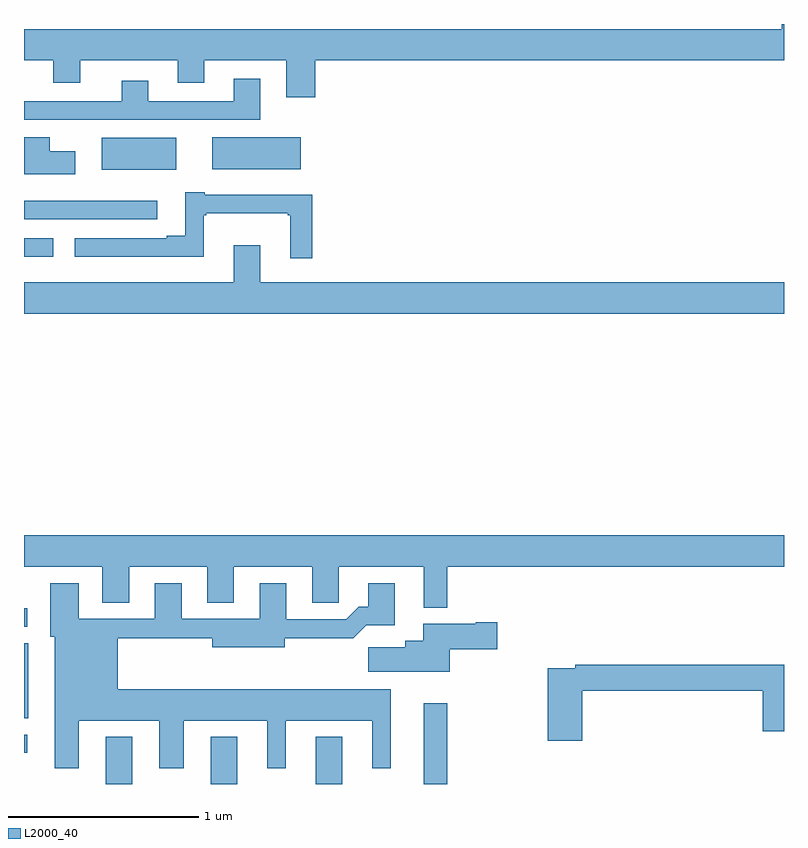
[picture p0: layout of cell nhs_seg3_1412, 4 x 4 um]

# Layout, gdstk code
import gdstk
lib = gdstk.Library(unit=1e-6, precision=1e-09)
def R(c, l, rs):  # rectangles x0, y0, x1, y1
    for r in rs: c.add(gdstk.rectangle(r[:2], r[2:], *l))
def A(c, l, x, y, w, h, nx, ny, dx, dy):  # array of equal rectangles
    R(c, l, [(x+i*dx, y+j*dy, x+i*dx+w, y+j*dy+h) for i in range(nx) for j in range(ny)])
def P(c, l, *ps):  # polygons
    for p in ps: c.add(gdstk.Polygon(p, *l))
L2000_40 = (2000, 40)

nhs_seg3_1412 = lib.new_cell('nhs_seg3_1412')
A(nhs_seg3_1412, L2000_40, 183.431, 738.4, 0.14, 0.249, 3, 1, 0.552, 0)
R(nhs_seg3_1412, L2000_40, [(185.105,738.4,185.227,738.826), (183,738.564,183.016,738.66), (183,738.745,183.022,739.142), (183,739.227,183.016,739.326), (183,741.176,183.154,741.273), (183,741.372,183.7,741.469), (183.41,741.632,183.802,741.802), (183.992,741.635,184.456,741.805)])
P(nhs_seg3_1412, L2000_40, [(184.532,742.208),(187,742.208),(187,742.4),(186.989,742.4),(186.989,742.372),(183,742.372),(183,742.208),(183.155,742.208),(183.155,742.091),(183.295,742.091),(183.295,742.208),(183.809,742.208),(183.809,742.091),(183.949,742.091),(183.949,742.208),(184.379,742.208),(184.379,742.014),(184.532,742.014)],
  [(184.243,742.111),(184.103,742.111),(184.103,741.993),(183.655,741.993),(183.655,742.102),(183.515,742.102),(183.515,741.993),(183,741.993),(183,741.897),(184.243,741.897)],
  [(183.271,741.73),(183.136,741.73),(183.136,741.805),(183,741.805),(183,741.608),(183.271,741.608)],
  [(184.517,741.502),(183.952,741.502),(183.952,741.514),(183.848,741.514),(183.848,741.286),(183.752,741.286),(183.752,741.273),(183.267,741.273),(183.267,741.176),(183.946,741.176),(183.946,741.393),(183.958,741.393),(183.958,741.404),(184.389,741.404),(184.389,741.393),(184.4,741.393),(184.4,741.168),(184.517,741.168)],
  [(187,741.04),(184.243,741.04),(184.243,741.235),(184.103,741.235),(184.103,741.04),(183,741.04),(183,740.876),(187,740.876)],
  [(185.227,739.544),(187,739.544),(187,739.708),(183,739.708),(183,739.544),(183.413,739.544),(183.413,739.354),(183.553,739.354),(183.553,739.544),(183.965,739.544),(183.965,739.354),(184.105,739.354),(184.105,739.544),(184.517,739.544),(184.517,739.354),(184.656,739.354),(184.656,739.544),(185.105,739.544),(185.105,739.328),(185.227,739.328)],
  [(183.289,738.734),(183.713,738.734),(183.713,738.483),(183.841,738.483),(183.841,738.734),(184.28,738.734),(184.28,738.483),(184.378,738.483),(184.378,738.734),(184.832,738.734),(184.832,738.483),(184.93,738.483),(184.93,738.898),(183.493,738.898),(183.493,739.168),(183.992,739.168),(183.992,739.121),(184.372,739.121),(184.372,739.166),(184.733,739.166),(184.802,739.235),(184.951,739.235),(184.951,739.456),(184.811,739.456),(184.811,739.333),(184.762,739.333),(184.695,739.266),(184.381,739.266),(184.381,739.456),(184.241,739.456),(184.241,739.269),(183.829,739.269),(183.829,739.456),(183.689,739.456),(183.689,739.269),(183.289,739.269),(183.289,739.456),(183.137,739.456),(183.137,739.176),(183.161,739.176),(183.161,738.483),(183.289,738.483)],
  [(185.242,739.109),(185.491,739.109),(185.491,739.251),(185.378,739.251),(185.378,739.243),(185.102,739.243),(185.102,739.153),(185.006,739.153),(185.006,739.121),(184.812,739.121),(184.812,738.992),(185.242,738.992)],
  [(185.939,738.892),(186.889,738.892),(186.889,738.678),(187,738.678),(187,739.028),(185.902,739.028),(185.902,739.008),(185.756,739.008),(185.756,738.627),(185.939,738.627)])

lib.write_gds('nhs_seg3_1412.gds')
